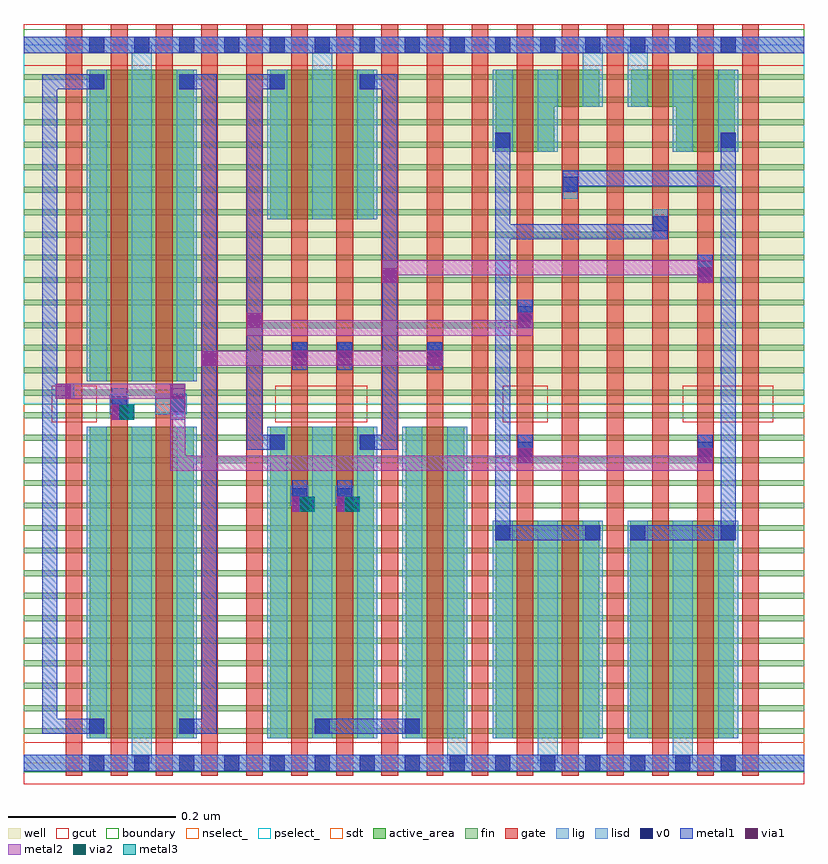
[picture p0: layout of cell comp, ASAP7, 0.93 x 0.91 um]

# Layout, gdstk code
import gdstk
lib = gdstk.Library(unit=1e-6, precision=1e-09)
def R(c, l, rs):  # rectangles x0, y0, x1, y1
    for r in rs: c.add(gdstk.rectangle(r[:2], r[2:], *l))
def A(c, l, x, y, w, h, nx, ny, dx, dy):  # array of equal rectangles
    R(c, l, [(x+i*dx, y+j*dy, x+i*dx+w, y+j*dy+h) for i in range(nx) for j in range(ny)])
def P(c, l, *ps):  # polygons
    for p in ps: c.add(gdstk.Polygon(p, *l))
well = (1, 0)
fin = (2, 0)
gate = (7, 0)
gcut = (10, 0)
active_area = (11, 0)
nselect_ = (12, 0)
pselect_ = (13, 0)
lig = (16, 0)
lisd = (17, 0)
v0 = (18, 0)
metal1 = (19, 0)
metal2 = (20, 0)
via1 = (21, 0)
via2 = (25, 0)
metal3 = (30, 0)
sdt = (88, 0)
boundary = (100, 0)

fin_ = lib.new_cell('fin')
R(fin_, fin, [(0,0,0.934,0.007)])

fingrid = lib.new_cell('fingrid')
r = gdstk.Reference(fin_, (0,0)); r.repetition = gdstk.Repetition(1, 30, v1=(0,0), v2=(0,0.027)); fingrid.add(r)

poly = lib.new_cell('poly')
R(poly, gate, [(0,0,0.02,0.9)])

polygrid = lib.new_cell('polygrid')
r = gdstk.Reference(poly, (0,0)); r.repetition = gdstk.Repetition(16, 1, v1=(0.054,0), v2=(0,0)); polygrid.add(r)

c_v0 = lib.new_cell('v0')
R(c_v0, v0, [(0,0,0.018,0.018)])

comp = lib.new_cell('comp')
R(comp, well, [(0,0.395,0.934,0.835)])
R(comp, gcut, [(0,-0.06,0.934,-0.01), (0.033,0.373,0.087,0.417), (0.301,0.373,0.411,0.417), (0.573,0.373,0.627,0.417), (0.789,0.373,0.897,0.417), (0,0.8,0.934,0.85)])
R(comp, active_area, [(0.079,-0.005,0.203,0.368), (0.295,-0.005,0.419,0.368), (0.457,-0.005,0.527,0.368), (0.565,-0.005,0.689,0.255), (0.726,-0.005,0.85,0.255), (0.079,0.422,0.203,0.795), (0.295,0.616,0.419,0.795)])
P(comp, active_area, [(0.565,0.697),(0.565,0.795),(0.689,0.795),(0.689,0.751),(0.635,0.751),(0.635,0.697)],
  [(0.781,0.697),(0.781,0.751),(0.727,0.751),(0.727,0.795),(0.851,0.795),(0.851,0.697)])
R(comp, nselect_, [(0,-0.035,0.934,0.395)])
R(comp, pselect_, [(0,0.395,0.934,0.825)])
R(comp, lig, [(0,-0.045,0.934,-0.025), (0.319,0.273,0.341,0.297), (0.373,0.273,0.395,0.297), (0.591,0.324,0.609,0.358), (0.807,0.324,0.825,0.358), (0.103,0.383,0.125,0.407), (0.157,0.383,0.195,0.407), (0.321,0.442,0.339,0.469), (0.375,0.442,0.393,0.469), (0.483,0.451,0.501,0.469), (0.591,0.486,0.609,0.52), (0.807,0.54,0.825,0.574), (0.753,0.594,0.771,0.628), (0.645,0.641,0.663,0.675), (0,0.815,0.934,0.835)])
A(comp, lisd, 0.075, -0.005, 0.024, 0.373, 3, 1, 0.108, 0)
A(comp, lisd, 0.345, -0.005, 0.024, 0.373, 3, 1, 0.054, 0)
R(comp, lisd, [(0.129,-0.035,0.153,0.368), (0.507,-0.035,0.531,0.368), (0.615,-0.035,0.639,0.255), (0.777,-0.035,0.801,0.255), (0.561,-0.005,0.585,0.255), (0.669,-0.005,0.693,0.255), (0.723,-0.005,0.747,0.255), (0.831,-0.005,0.855,0.255), (0.075,0.422,0.099,0.795), (0.129,0.422,0.153,0.825), (0.183,0.422,0.207,0.795), (0.291,0.616,0.315,0.795), (0.345,0.616,0.369,0.825), (0.399,0.616,0.423,0.795), (0.561,0.697,0.585,0.795), (0.615,0.697,0.639,0.795), (0.777,0.697,0.801,0.795), (0.831,0.697,0.855,0.795), (0.669,0.751,0.693,0.825), (0.723,0.751,0.747,0.825)])
A(comp, v0, 0.078, 0.772, 0.018, 0.018, 4, 1, 0.108, 0)
R(comp, v0, [(0.078,0,0.096,0.018), (0.186,0,0.204,0.018), (0.348,0,0.366,0.018), (0.456,0,0.474,0.018), (0.564,0.232,0.582,0.25), (0.672,0.232,0.69,0.25), (0.726,0.232,0.744,0.25), (0.834,0.232,0.852,0.25), (0.321,0.276,0.339,0.294), (0.375,0.276,0.393,0.294), (0.591,0.332,0.609,0.35), (0.807,0.332,0.825,0.35), (0.294,0.34,0.312,0.358), (0.402,0.34,0.42,0.358), (0.321,0.451,0.339,0.469), (0.375,0.451,0.393,0.469), (0.483,0.451,0.501,0.469), (0.591,0.494,0.609,0.512), (0.807,0.548,0.825,0.566), (0.753,0.602,0.771,0.62), (0.645,0.649,0.663,0.667), (0.564,0.702,0.582,0.72), (0.834,0.702,0.852,0.72)])
R(comp, metal1, [(0,-0.045,0.934,-0.025), (0.591,0.324,0.609,0.358), (0.807,0.324,0.825,0.358), (0.591,0.486,0.609,0.52), (0.807,0.54,0.825,0.574), (0,0.815,0.934,0.835)])
R(comp, via1, [(0.321,0.266,0.339,0.284), (0.375,0.266,0.393,0.284), (0.591,0.324,0.609,0.342), (0.807,0.324,0.825,0.342), (0.105,0.376,0.123,0.394), (0.038,0.401,0.056,0.419), (0.175,0.401,0.193,0.419), (0.213,0.441,0.231,0.459), (0.321,0.441,0.339,0.459), (0.375,0.441,0.393,0.459), (0.483,0.441,0.501,0.459), (0.267,0.486,0.285,0.504), (0.591,0.486,0.609,0.504), (0.429,0.54,0.447,0.558), (0.807,0.54,0.825,0.558)])
R(comp, via2, [(0.33,0.266,0.348,0.284), (0.384,0.266,0.402,0.284), (0.114,0.376,0.132,0.394)])
A(comp, sdt, 0.075, -0.005, 0.024, 0.373, 3, 2, 0.054, 0.427)
A(comp, sdt, 0.291, -0.005, 0.024, 0.373, 5, 1, 0.054, 0)
A(comp, sdt, 0.561, -0.005, 0.024, 0.26, 6, 1, 0.054, 0)
A(comp, sdt, 0.291, 0.616, 0.024, 0.179, 3, 1, 0.054, 0)
R(comp, sdt, [(0.561,0.697,0.585,0.795), (0.615,0.697,0.639,0.795), (0.777,0.697,0.801,0.795), (0.831,0.697,0.855,0.795), (0.669,0.751,0.693,0.795), (0.723,0.751,0.747,0.795)])
R(comp, boundary, [(0,-0.046,0.934,0.844)])
comp.add(gdstk.FlexPath([(0.33,0.304),(0.33,0.266)], 0.018, ends="flush", simple_path=True, layer=19, datatype=0))  # metal1
comp.add(gdstk.FlexPath([(0.384,0.304),(0.384,0.266)], 0.018, ends="flush", simple_path=True, layer=19, datatype=0))  # metal1
comp.add(gdstk.FlexPath([(0.402,0.781),(0.438,0.781),(0.438,0.349),(0.411,0.349),(0.402,0.349)], 0.018, ends="flush", simple_path=True, layer=19, datatype=0))  # metal1
comp.add(gdstk.FlexPath([(0.312,0.781),(0.276,0.781),(0.276,0.349),(0.303,0.349),(0.312,0.349)], 0.018, ends="flush", simple_path=True, layer=19, datatype=0))  # metal1
comp.add(gdstk.FlexPath([(0.348,0.009),(0.473,0.009),(0.474,0.009)], 0.018, ends="flush", simple_path=True, layer=19, datatype=0))  # metal1
comp.add(gdstk.FlexPath([(0.33,0.469),(0.33,0.436)], 0.018, ends="flush", simple_path=True, layer=19, datatype=0))  # metal1
comp.add(gdstk.FlexPath([(0.384,0.469),(0.384,0.436)], 0.018, ends="flush", simple_path=True, layer=19, datatype=0))  # metal1
comp.add(gdstk.FlexPath([(0.492,0.469),(0.492,0.436)], 0.018, ends="flush", simple_path=True, layer=19, datatype=0))  # metal1
comp.add(gdstk.FlexPath([(0.573,0.72),(0.573,0.241),(0.69,0.241),(0.69,0.241)], 0.018, ends="flush", simple_path=True, layer=19, datatype=0))  # metal1
comp.add(gdstk.FlexPath([(0.843,0.72),(0.843,0.241),(0.726,0.241),(0.726,0.241)], 0.018, ends="flush", simple_path=True, layer=19, datatype=0))  # metal1
comp.add(gdstk.FlexPath([(0.654,0.649),(0.654,0.665),(0.852,0.665)], 0.018, ends="flush", simple_path=True, layer=19, datatype=0))  # metal1
comp.add(gdstk.FlexPath([(0.762,0.62),(0.762,0.601),(0.564,0.601)], 0.018, ends="flush", simple_path=True, layer=19, datatype=0))  # metal1
comp.add(gdstk.FlexPath([(0.096,0.781),(0.031,0.781),(0.031,0.009),(0.085,0.009),(0.096,0.009)], 0.018, ends="flush", simple_path=True, layer=19, datatype=0))  # metal1
comp.add(gdstk.FlexPath([(0.186,0.781),(0.222,0.781),(0.222,0.009),(0.197,0.009),(0.186,0.009)], 0.018, ends="flush", simple_path=True, layer=19, datatype=0))  # metal1
comp.add(gdstk.FlexPath([(0.184,0.414),(0.184,0.376)], 0.018, ends="flush", simple_path=True, layer=19, datatype=0))  # metal1
comp.add(gdstk.FlexPath([(0.114,0.414),(0.114,0.376)], 0.018, ends="flush", simple_path=True, layer=19, datatype=0))  # metal1
comp.add(gdstk.FlexPath([(0.031,0.41),(0.06,0.41)], 0.018, ends="flush", simple_path=True, layer=19, datatype=0))  # metal1
comp.add(gdstk.FlexPath([(0.276,0.504),(0.276,0.486),(0.6,0.486),(0.6,0.504),(0.6,0.504)], 0.018, ends="flush", simple_path=True, layer=20, datatype=0))  # metal2
comp.add(gdstk.FlexPath([(0.438,0.54),(0.438,0.558),(0.816,0.558),(0.816,0.54)], 0.018, ends="flush", simple_path=True, layer=20, datatype=0))  # metal2
comp.add(gdstk.FlexPath([(0.193,0.41),(0.038,0.41)], 0.018, ends="flush", simple_path=True, layer=20, datatype=0))  # metal2
comp.add(gdstk.FlexPath([(0.184,0.419),(0.184,0.324),(0.6,0.324),(0.6,0.342)], 0.018, ends="flush", simple_path=True, layer=20, datatype=0))  # metal2
comp.add(gdstk.FlexPath([(0.6,0.324),(0.816,0.324),(0.816,0.342)], 0.018, ends="flush", simple_path=True, layer=20, datatype=0))  # metal2
comp.add(gdstk.FlexPath([(0.105,0.385),(0.132,0.385)], 0.018, ends="flush", simple_path=True, layer=20, datatype=0))  # metal2
comp.add(gdstk.FlexPath([(0.321,0.275),(0.348,0.275)], 0.018, ends="flush", simple_path=True, layer=20, datatype=0))  # metal2
comp.add(gdstk.FlexPath([(0.375,0.275),(0.402,0.275)], 0.018, ends="flush", simple_path=True, layer=20, datatype=0))  # metal2
comp.add(gdstk.FlexPath([(0.502,0.45),(0.212,0.45),(0.212,0.45)], 0.018, ends="flush", simple_path=True, layer=20, datatype=0))  # metal2
comp.add(gdstk.FlexPath([(0.123,0.376),(0.123,0.394),(0.123,0.394)], 0.018, ends="flush", simple_path=True, layer=30, datatype=0))  # metal3
comp.add(gdstk.FlexPath([(0.339,0.266),(0.339,0.284),(0.339,0.284)], 0.018, ends="flush", simple_path=True, layer=30, datatype=0))  # metal3
comp.add(gdstk.FlexPath([(0.393,0.266),(0.393,0.284),(0.393,0.284)], 0.018, ends="flush", simple_path=True, layer=30, datatype=0))  # metal3
comp.add(gdstk.Reference(fingrid, (0,0)))
comp.add(gdstk.Reference(polygrid, (0.05,-0.05)))
comp.add(gdstk.Reference(c_v0, (0.105,0.386)))
r = gdstk.Reference(c_v0, (0.078,0.816)); r.repetition = gdstk.Repetition(15, 1, v1=(0.054,0), v2=(0,0)); comp.add(r)
r = gdstk.Reference(c_v0, (0.078,-0.044)); r.repetition = gdstk.Repetition(15, 1, v1=(0.054,0), v2=(0,0)); comp.add(r)
comp.add(gdstk.Reference(c_v0, (0.175,0.386)))

lib.write_gds('comp.gds')
